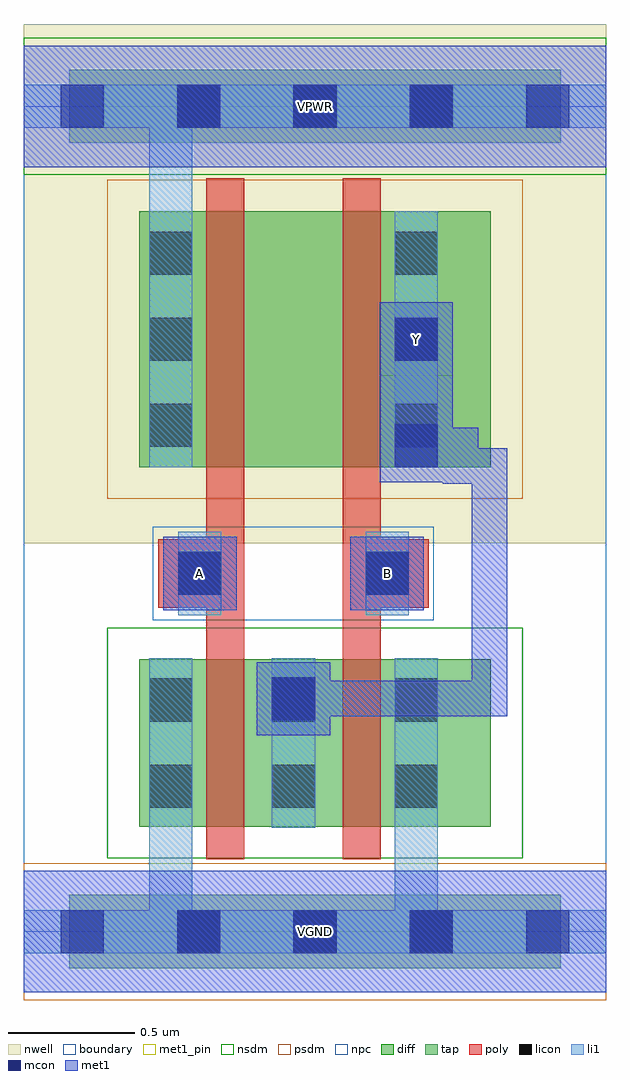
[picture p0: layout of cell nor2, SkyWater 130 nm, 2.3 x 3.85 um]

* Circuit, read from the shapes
.subckt nor2 A B VGND VPWR Y
XM1 Y A VGND VGND sky130_fd_pr__nfet_01v8 w=0.66 l=0.15
XM2 VGND B Y VGND sky130_fd_pr__nfet_01v8 w=0.66 l=0.15
XM3 n1 A VPWR VPWR sky130_fd_pr__pfet_01v8 w=1.01 l=0.15
XM4 Y B n1 VPWR sky130_fd_pr__pfet_01v8 w=1.01 l=0.15
.ends

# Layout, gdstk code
import gdstk
lib = gdstk.Library(unit=1e-6, precision=1e-09)
def R(c, l, rs):  # rectangles x0, y0, x1, y1
    for r in rs: c.add(gdstk.rectangle(r[:2], r[2:], *l))
def A(c, l, x, y, w, h, nx, ny, dx, dy):  # array of equal rectangles
    R(c, l, [(x+i*dx, y+j*dy, x+i*dx+w, y+j*dy+h) for i in range(nx) for j in range(ny)])
nwell = (64, 20)
diff = (65, 20)
tap = (65, 44)
poly = (66, 20)
licon = (66, 44)
li1 = (67, 20)
mcon = (67, 44)
met1_pin = (68, 16)
met1 = (68, 20)
nsdm = (93, 44)
psdm = (94, 20)
npc = (95, 20)
boundary = (235, 4)

nor2 = lib.new_cell('nor2')
R(nor2, nwell, [(0,1.535,2.3,3.585)])
R(nor2, diff, [(0.455,0.415,1.845,1.075), (0.455,1.835,1.845,2.845)])
R(nor2, tap, [(0.18,-0.145,2.12,0.145), (0.18,3.115,2.12,3.405)])
R(nor2, poly, [(0.72,0.285,0.87,2.975), (1.26,0.285,1.41,2.975), (0.53,1.28,0.86,1.55), (1.27,1.28,1.6,1.55)])
A(nor2, licon, 0.605, -0.085, 0.17, 0.17, 3, 2, 0.46, 3.26)
A(nor2, licon, 0.495, 0.49, 0.17, 0.17, 3, 2, 0.485, 0.34)
A(nor2, licon, 0.495, 1.915, 0.17, 0.17, 1, 3, 0, 0.34)
A(nor2, licon, 1.465, 1.915, 0.17, 0.17, 1, 3, 0, 0.34)
R(nor2, licon, [(0.61,1.33,0.78,1.5), (1.35,1.33,1.52,1.5)])
A(nor2, li1, 0.495, 0.41, 0.17, 0.67, 3, 1, 0.485, 0)
R(nor2, li1, [(0,-0.085,2.3,0.085), (0.495,-0.085,0.665,1.08), (1.465,-0.085,1.635,1.08), (0.61,1.25,0.78,1.58), (1.35,1.25,1.52,1.58), (0.495,1.835,0.665,2.845), (0.495,1.835,0.665,3.345), (1.465,1.835,1.635,2.845), (0,3.175,2.3,3.345)])
A(nor2, mcon, 0.145, -0.085, 0.17, 0.17, 5, 2, 0.46, 3.26)
R(nor2, mcon, [(0.98,0.835,1.15,1.005), (0.61,1.33,0.78,1.5), (1.35,1.33,1.52,1.5), (1.465,1.835,1.635,2.005), (1.465,2.255,1.635,2.425)])
R(nor2, met1_pin, [(0,-0.24,2.3,0.24), (0.55,1.27,0.84,1.56), (1.29,1.27,1.58,1.56), (1.405,2.195,1.695,2.485), (0,3.02,2.3,3.5)])
R(nor2, met1, [(0,-0.24,2.3,0.24), (0.92,0.775,1.21,1.065), (0.995,0.85,1.335,0.99), (1.195,0.85,1.91,0.99), (1.77,0.85,1.91,1.91), (0.55,1.27,0.84,1.56), (1.29,1.27,1.58,1.56), (1.655,1.77,1.795,1.99), (1.655,1.77,1.91,1.91), (1.405,1.775,1.695,2.065), (1.48,1.85,1.795,1.99), (1.405,2.065,1.695,2.195), (1.405,2.195,1.695,2.485), (0,3.02,2.3,3.5)])
R(nor2, nsdm, [(0.33,0.29,1.97,1.2), (0,2.99,2.3,3.53)])
R(nor2, psdm, [(0,-0.27,2.3,0.27), (0.33,1.71,1.97,2.97)])
R(nor2, npc, [(0.51,1.23,1.62,1.6)])
R(nor2, boundary, [(0,0,2.3,3.26)])
nor2.add(gdstk.Label('A', (0.695,1.415), layer=68, texttype=5))
nor2.add(gdstk.Label('B', (1.435,1.415), layer=68, texttype=5))
nor2.add(gdstk.Label('Y', (1.55,2.34), layer=68, texttype=5))
nor2.add(gdstk.Label('VPWR', (1.15,3.26), layer=68, texttype=5))
nor2.add(gdstk.Label('VGND', (1.15,0), layer=68, texttype=5))
nor2.add(gdstk.Label('A', (0.695,1.415), layer=68, texttype=16))
nor2.add(gdstk.Label('B', (1.435,1.415), layer=68, texttype=16))
nor2.add(gdstk.Label('Y', (1.55,2.34), layer=68, texttype=16))
nor2.add(gdstk.Label('VPWR', (1.15,3.26), layer=68, texttype=16))
nor2.add(gdstk.Label('VGND', (1.15,0), layer=68, texttype=16))

lib.write_gds('nor2.gds')
